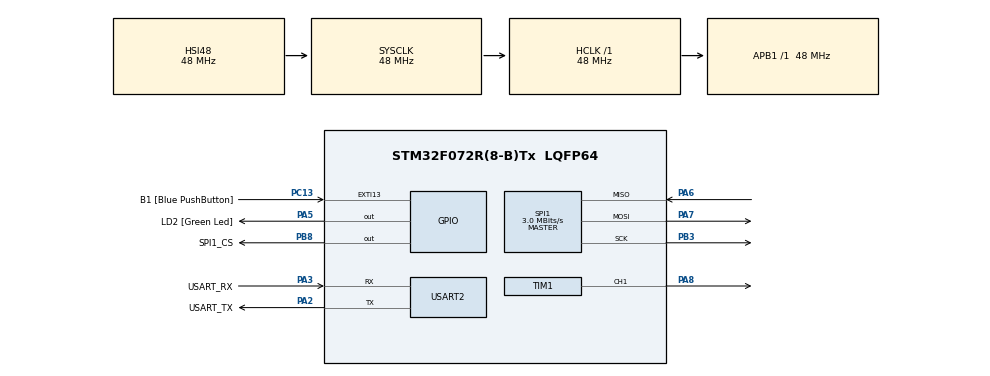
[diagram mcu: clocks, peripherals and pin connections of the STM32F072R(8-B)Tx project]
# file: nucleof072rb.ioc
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Mcu.Family=STM32F0
Mcu.Name=STM32F072R(8-B)Tx
Mcu.Package=LQFP64
PA13.GPIO_Label=TMS
PA13.Mode=Serial_Wire
PA13.Signal=SYS_SWDIO
PA14.GPIO_Label=TCK
PA14.Mode=Serial_Wire
PA14.Signal=SYS_SWCLK
PA2.GPIO_Label=USART_TX
PA2.GPIO_Mode=GPIO_MODE_AF_PP
PA2.GPIO_PuPd=GPIO_NOPULL
PA2.GPIO_Speed=GPIO_SPEED_FREQ_LOW
PA2.Mode=Asynchronous
PA2.Signal=USART2_TX
PA3.GPIO_Label=USART_RX
PA3.GPIO_Mode=GPIO_MODE_AF_PP
PA3.GPIO_PuPd=GPIO_NOPULL
PA3.GPIO_Speed=GPIO_SPEED_FREQ_LOW
PA3.Mode=Asynchronous
PA3.Signal=USART2_RX
PA5.GPIO_Label=LD2 [Green Led]
PA5.GPIO_Mode=GPIO_MODE_OUTPUT_PP
PA5.GPIO_PuPd=GPIO_NOPULL
PA5.GPIO_Speed=GPIO_SPEED_FREQ_LOW
PA5.Signal=GPIO_Output
PA6.Mode=Full_Duplex_Master
PA6.Signal=SPI1_MISO
PA7.Mode=Full_Duplex_Master
PA7.Signal=SPI1_MOSI
PA8.Signal=S_TIM1_CH1
PB3.Mode=Full_Duplex_Master
PB3.Signal=SPI1_SCK
PB8.GPIO_Label=SPI1_CS
PB8.Signal=GPIO_Output
PC13.GPIO_Label=B1 [Blue PushButton]
PC13.GPIO_ModeDefaultEXTI=GPIO_MODE_IT_FALLING
PC13.Signal=GPXTI13
PC14-OSC32_IN.Mode=LSE-External-Oscillator
PC14-OSC32_IN.Signal=RCC_OSC32_IN
PC15-OSC32_OUT.Mode=LSE-External-Oscillator
PC15-OSC32_OUT.Signal=RCC_OSC32_OUT
PF0-OSC_IN.Mode=HSE-External-Clock-Source
PF0-OSC_IN.Signal=RCC_OSC_IN
PF1-OSC_OUT.Signal=RCC_OSC_OUT
ProjectManager.HeapSize=0x200
ProjectManager.StackSize=0x400
ProjectManager.TargetToolchain=STM32CubeIDE
RCC.AHBFreq_Value=48000000
RCC.APB1Freq_Value=48000000
RCC.APB1TimFreq_Value=48000000
RCC.FLatency-AdvancedSettings=FLASH_LATENCY_1
RCC.HCLKFreq_Value=48000000
RCC.PLLDivider=RCC_PREDIV_DIV2
RCC.PLLMUL=RCC_PLL_MUL12
RCC.PREFETCH_ENABLE-AdvancedSettings=1
RCC.SYSCLKFreq_VALUE=48000000
RCC.SYSCLKSource=RCC_SYSCLKSOURCE_HSI48
SH.S_TIM1_CH1.0=TIM1_CH1,PWM Generation1 CH1
SPI1.BaudRatePrescaler=SPI_BAUDRATEPRESCALER_16
SPI1.CLKPolarity=SPI_POLARITY_LOW
SPI1.CalculateBaudRate=3.0 MBits/s
SPI1.DataSize=SPI_DATASIZE_8BIT
SPI1.Direction=SPI_DIRECTION_2LINES
SPI1.Mode=SPI_MODE_MASTER
SPI1.VirtualType=VM_MASTER
TIM1.Channel-PWM\ Generation1\ CH1=TIM_CHANNEL_1
TIM1.Period=63999
TIM1.Prescaler=14
USART2.VirtualMode=VM_ASYNC
USART2.VirtualMode-Asynchronous=VM_ASYNC
VP_TIM1_VS_ClockSourceINT.Mode=Internal
board=NUCLEO-F072RB

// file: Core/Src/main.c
/* USER CODE BEGIN Header */
/**
  ******************************************************************************
  * @file           : main.c
  * @brief          : Main program body
  ******************************************************************************
  * @attention
  *
  * <h2><center>&copy; Copyright (c) 2021 STMicroelectronics.
  * All rights reserved.</center></h2>
  *
  * This software component is licensed by ST under BSD 3-Clause license,
  * the "License"; You may not use this file except in compliance with the
  * License. You may obtain a copy of the License at:
  *                        opensource.org/licenses/BSD-3-Clause
  *
  ******************************************************************************
  */
/* USER CODE END Header */
#include "main.h"
#include "spi.h"
#include "tim.h"
#include "usart.h"
#include "gpio.h"

/* USER CODE BEGIN PTD */
#define ADC_CHANNEL 0u // CH0 connects to ADC
#define ADC_MAX 1023u
#define PWM_MIN_COUNT 3200u // 5% of counter period
#define PWM_MAX_COUNT 6400u // 10% of counter period
/* USER CODE END PTD */

void SystemClock_Config(void);
/* USER CODE BEGIN PFP */
static uint16_t adcRead(uint8_t channel);
/* USER CODE END PFP */

int main(void)
{

  /* MCU Configuration--------------------------------------------------------*/

  /* Reset of all peripherals, Initializes the Flash interface and the Systick. */
  HAL_Init();

  /* Configure the system clock */
  SystemClock_Config();

  /* Initialize all configured peripherals */
  MX_GPIO_Init();
  MX_USART2_UART_Init();
  MX_SPI1_Init();
  MX_TIM1_Init();
  /* USER CODE BEGIN 2 */
  HAL_GPIO_WritePin(SPI1_CS_GPIO_Port, SPI1_CS_Pin, GPIO_PIN_SET); // CS idle high
  HAL_TIM_PWM_Start(&htim1, TIM_CHANNEL_1); // Start Tim1
  /* USER CODE END 2 */

  /* Infinite loop */
  /* USER CODE BEGIN WHILE */
  while (1)
  {
	  uint16_t adc_val = adcRead(ADC_CHANNEL);

	  // Map 0-1023 from ADC to 3200-6400 counts on PWM
	  int counts = PWM_MIN_COUNT +  (adc_val * (PWM_MAX_COUNT - PWM_MIN_COUNT) / ADC_MAX);

	  // Set PWM signal to control the motor
	  __HAL_TIM_SET_COMPARE(&htim1, TIM_CHANNEL_1, counts);

	  // Delay to not overload ADC
	  HAL_Delay(10);
    /* USER CODE END WHILE */

  }
}

void SystemClock_Config(void)
{
  RCC_OscInitTypeDef RCC_OscInitStruct = {0};
  RCC_ClkInitTypeDef RCC_ClkInitStruct = {0};
  RCC_PeriphCLKInitTypeDef PeriphClkInit = {0};

  /** Initializes the RCC Oscillators according to the specified parameters
  * in the RCC_OscInitTypeDef structure.
  */
  RCC_OscInitStruct.OscillatorType = RCC_OSCILLATORTYPE_HSI48;
  RCC_OscInitStruct.HSI48State = RCC_HSI48_ON;
  RCC_OscInitStruct.PLL.PLLState = RCC_PLL_NONE;
  if (HAL_RCC_OscConfig(&RCC_OscInitStruct) != HAL_OK)
  {
    Error_Handler();
  }
  /** Initializes the CPU, AHB and APB buses clocks
  */
  RCC_ClkInitStruct.ClockType = RCC_CLOCKTYPE_HCLK|RCC_CLOCKTYPE_SYSCLK
                              |RCC_CLOCKTYPE_PCLK1;
  RCC_ClkInitStruct.SYSCLKSource = RCC_SYSCLKSOURCE_HSI48;
  RCC_ClkInitStruct.AHBCLKDivider = RCC_SYSCLK_DIV1;
  RCC_ClkInitStruct.APB1CLKDivider = RCC_HCLK_DIV1;

  if (HAL_RCC_ClockConfig(&RCC_ClkInitStruct, FLASH_LATENCY_1) != HAL_OK)
  {
    Error_Handler();
  }
  PeriphClkInit.PeriphClockSelection = RCC_PERIPHCLK_USART2;
  PeriphClkInit.Usart2ClockSelection = RCC_USART2CLKSOURCE_PCLK1;
  if (HAL_RCCEx_PeriphCLKConfig(&PeriphClkInit) != HAL_OK)
  {
    Error_Handler();
  }
}

/* USER CODE BEGIN 4 */
/**
 * This function read ADC value from MCP3004
 *
 * @param channel: CH0-CH3 on MCU
 *
 * @return received ADC value
 */
static uint16_t adcRead(uint8_t channel)
{
	// 24 clocks each
	uint8_t tx[3] = {0x01, (uint8_t) (0x08 | (channel << 4)), 0x00};
	uint8_t rx[3] = {};

	// Pull CS low to start SPI
	HAL_GPIO_WritePin(SPI1_CS_GPIO_Port, SPI1_CS_Pin, GPIO_PIN_RESET);

	// Data transfer
	HAL_SPI_TransmitReceive(&hspi1, tx, rx, 3, HAL_MAX_DELAY);

	// PULL CS high to finish SPI
	HAL_GPIO_WritePin(SPI1_CS_GPIO_Port, SPI1_CS_Pin, GPIO_PIN_SET);

	return (uint16_t) ((rx[1] & 0x03) << 8 | rx[2]);
}
/* USER CODE END 4 */

void Error_Handler(void)
{
  __disable_irq();
  while (1)
  {
  }
}

/************************ (C) COPYRIGHT STMicroelectronics *****END OF FILE****/
